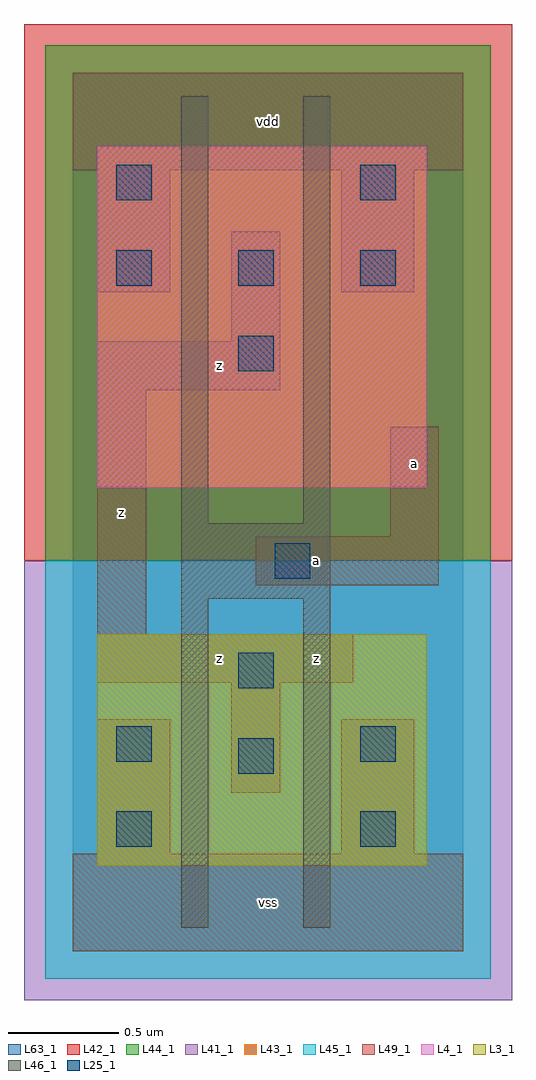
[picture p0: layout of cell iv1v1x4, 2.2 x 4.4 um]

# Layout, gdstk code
import gdstk
lib = gdstk.Library(unit=1e-6, precision=1e-09)
def R(c, l, rs):  # rectangles x0, y0, x1, y1
    for r in rs: c.add(gdstk.rectangle(r[:2], r[2:], *l))
def A(c, l, x, y, w, h, nx, ny, dx, dy):  # array of equal rectangles
    R(c, l, [(x+i*dx, y+j*dy, x+i*dx+w, y+j*dy+h) for i in range(nx) for j in range(ny)])
L3_1 = (3, 1)
L4_1 = (4, 1)
L25_1 = (25, 1)
L41_1 = (41, 1)
L42_1 = (42, 1)
L43_1 = (43, 1)
L44_1 = (44, 1)
L45_1 = (45, 1)
L46_1 = (46, 1)
L49_1 = (49, 1)
L63_1 = (63, 1)

iv1v1x4 = lib.new_cell('iv1v1x4')
R(iv1v1x4, L3_1, [(0.11,0.385,1.595,1.43)])
R(iv1v1x4, L4_1, [(0.11,2.09,1.595,3.63)])
A(iv1v1x4, L25_1, 0.195, 3, 0.16, 0.16, 3, 1, 0.55, 0)
R(iv1v1x4, L25_1, [(0.195,0.47,0.355,0.63), (1.295,0.47,1.455,0.63), (0.745,0.8,0.905,0.96), (0.195,0.855,0.355,1.015), (1.295,0.855,1.455,1.015), (0.745,1.185,0.905,1.345), (0.91,1.68,1.07,1.84), (0.745,2.615,0.905,2.775), (0.195,3.385,0.355,3.545), (1.295,3.385,1.455,3.545)])
R(iv1v1x4, L41_1, [(-0.22,-0.22,1.98,1.76)])
R(iv1v1x4, L42_1, [(-0.22,1.76,1.98,4.18)])
R(iv1v1x4, L43_1, [(0.11,0.385,1.595,1.43), (0.11,2.09,1.595,3.63)])
R(iv1v1x4, L44_1, [(-0.125,1.76,1.885,4.085)])
R(iv1v1x4, L45_1, [(-0.125,-0.125,1.885,1.76)])
R(iv1v1x4, L46_1, [(0.49,0.105,0.61,1.59), (1.04,0.105,1.16,1.59), (0.49,1.59,1.16,1.93), (0.49,1.93,0.61,3.855), (1.04,1.93,1.16,3.855)])
R(iv1v1x4, L49_1, [(0,0,1.76,0.44), (0.11,0.44,0.44,1.045), (1.21,0.44,1.54,1.045), (0.715,0.715,0.935,1.21), (0.11,1.21,1.265,1.43), (0.11,1.43,0.33,2.53), (0.825,1.65,1.65,1.87), (1.43,1.87,1.65,2.365), (0.11,2.53,0.935,2.75), (0.715,2.75,0.935,3.245), (0.11,2.97,0.44,3.52), (1.21,2.97,1.54,3.52), (0,3.52,1.76,3.96)])
R(iv1v1x4, L63_1, [(0,0,1.76,3.96)])
iv1v1x4.add(gdstk.Label('z', (0.22,1.98), layer=49, texttype=1))
iv1v1x4.add(gdstk.Label('z', (0.66,1.32), layer=49, texttype=1))
iv1v1x4.add(gdstk.Label('z', (0.66,2.64), layer=49, texttype=1))
iv1v1x4.add(gdstk.Label('vss', (0.88,0.22), layer=49, texttype=1))
iv1v1x4.add(gdstk.Label('a', (1.1,1.76), layer=49, texttype=1))
iv1v1x4.add(gdstk.Label('z', (1.1,1.32), layer=49, texttype=1))
iv1v1x4.add(gdstk.Label('vdd', (0.88,3.74), layer=49, texttype=1))
iv1v1x4.add(gdstk.Label('a', (1.54,2.2), layer=49, texttype=1))

lib.write_gds('iv1v1x4.gds')
